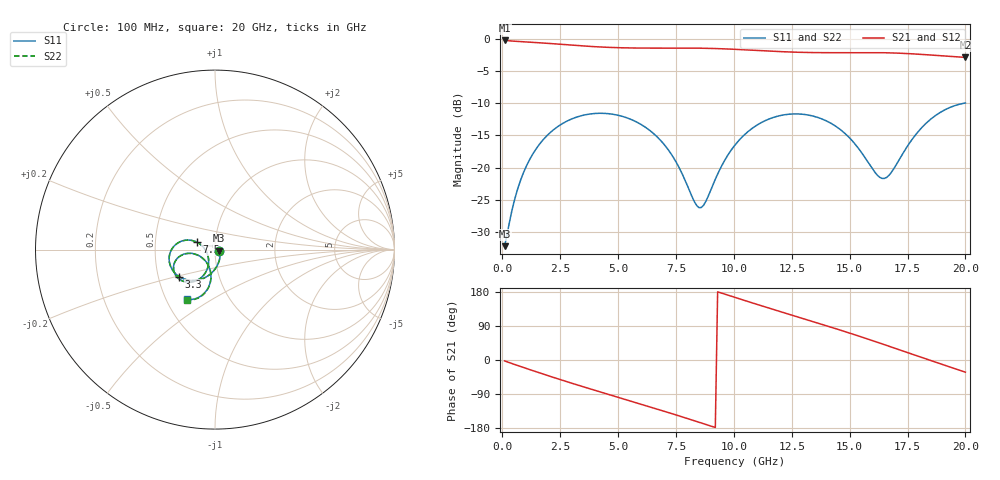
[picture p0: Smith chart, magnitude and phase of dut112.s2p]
! Touchstone file exported from HFSS 2026.1.0
!  File:  C:/ffzhzh/LocalFiles/Ansys_Project_Files/temp_train_TSV_RDL_112_1783046262_17544.aedt
!  Generated:  10:49:49 AM Jul  3, 2026
!  Design:  TSV_RDL
!  Project:  temp_train_TSV_RDL_112_1783046262_17544
! Variables:
!  h_bsmrdl = 2.09um
!  h_ox = 20um
!  h_rdl = 5um
!  h_sub = 86.4um
!  h_tmrdl = 5.47um
!  h_tsv = 86.4um
!  h_via = 3um
!  l_bsmrdl = 786.58um
!  l_sub = 5762.82um
!  l_tmrdl = 709.73um
!  m_sub = 200um
!  pitch = 30.83um
!  r_tsv = 14um
!  s_tmrdl = 10um
!  w_bsmrdl = 25.46um
!  w_sub = 500um
!  w_tmrdl = 29.26um
!  x_tsv_center1 = 724.36um
!  x_tsv_center2 = 1536.4um
!  x_tsv_center3 = 2275.39um
!  x_tsv_center4 = 3087.43um
!  x_tsv_center5 = 3826.42um
!  x_tsv_center6 = 4638.46um
# GHz S MA R 50.000000
! Terminal data exported
! Port[1] = TM_RDL1_1_T1
! Port[2] = TM_RDL5_1_T1
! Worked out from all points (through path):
!   200 points, 100 MHz to 20 GHz, reference 50 ohm
!   highest |S21| = -0.21 dB at 100 MHz (marker M1); lowest = -2.8 dB at 20 GHz (marker M2)
!   group delay of S21, straight-line fit = 53.7 ps
!   lowest |S11| = -32.2 dB at 100 MHz (marker M3), VSWR 1.05, Z = 52.4 - j0.615 ohm
!   |S11| at or under -10 dB: start of sweep to 19.92 GHz
!   |S22| runs from -32.2 to -9.9 dB; largest |S21 - S12| = 1.5e-14
!   S11 on the Smith chart (normalised r, x): 100 MHz: 1.05, -0.01; 3.3 GHz: 0.64, -0.21; 7.5 GHz: 0.81, +0.07; 20 GHz: 0.63, -0.39
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0.1  0.02442 -13.9  0.976 -2.4  0.976 -2.4  0.02442 -13.9
! Gamma 0 0 0 0
! Port Impedance 50 0 50 0
0.6  0.06234 -66.7  0.9614 -13.2  0.9614 -13.2  0.06235 -66.7
1.3  0.1259 -96.3  0.9446 -27.7  0.9446 -27.7  0.1259 -96.3
2.2  0.196 -119.9  0.9199 -45.8  0.9199 -45.8  0.196 -119.9
3.3  0.2499 -143.0  0.8889 -67.0  0.8889 -67.0  0.2499 -142.9
3.5  0.2555 -146.8  0.8839 -70.7  0.8839 -70.7  0.2555 -146.8
5.1  0.2527 -174.8  0.8564 -100.1  0.8564 -100.1  0.2527 -174.8
6.8  0.1652 161.3  0.8513 -131.5  0.8513 -131.5  0.1651 161.3
7.5  0.1109 157.6  0.852 -144.9  0.852 -144.9  0.1107 157.7
8.3  0.05403 -179.0  0.8509 -160.4  0.8509 -160.4  0.05392 -178.8
8.6  0.0489 -151.4  0.8495 -166.3  0.8495 -166.3  0.04889 -151.1
9.5  0.1051 -112.2  0.8409 175.9  0.8409 175.9  0.1053 -112.0
10.1  0.1536 -113.7  0.832 164.2  0.832 164.2  0.1538 -113.6
11.6  0.2418 -131.8  0.8055 135.4  0.8055 135.4  0.2421 -131.7
13.4  0.2522 -156.6  0.7855 101.7  0.7855 101.7  0.2525 -156.3
14.3  0.2154 -167.1  0.7838 84.6  0.7838 84.6  0.2157 -166.8
15.1  0.1625 -172.3  0.785 69.1  0.785 69.1  0.1629 -171.9
16.2  0.08709 -151.2  0.7847 46.8  0.7847 46.8  0.08762 -150.7
16.7  0.08699 -121.3  0.7817 36.4  0.7817 36.4  0.08759 -121.1
17.5  0.1469 -98.9  0.7716 19.6  0.7716 19.6  0.1475 -98.7
18.3  0.221 -100.6  0.756 2.8  0.756 2.8  0.2217 -100.3
20  0.3182 -119.8  0.7212 -32.1  0.7212 -32.1  0.3197 -119.2
